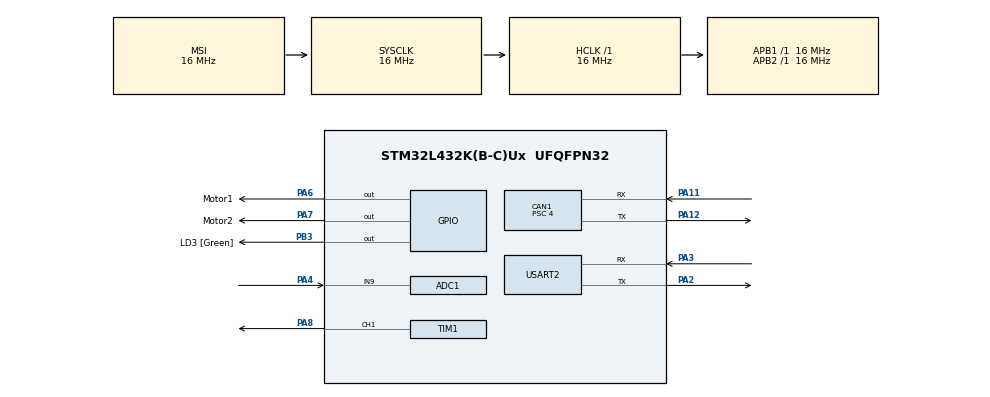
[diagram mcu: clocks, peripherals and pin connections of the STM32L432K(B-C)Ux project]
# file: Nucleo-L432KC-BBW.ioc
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ADC1.Channel-3\#ChannelRegularConversion=ADC_CHANNEL_9
ADC1.NbrOfConversionFlag=1
ADC1.OffsetNumber-3\#ChannelRegularConversion=ADC_OFFSET_NONE
ADC1.Rank-3\#ChannelRegularConversion=1
ADC1.SamplingTime-3\#ChannelRegularConversion=ADC_SAMPLETIME_2CYCLES_5
ADC1.master=1
CAN1.ABOM=ENABLE
CAN1.BS1=CAN_BS1_13TQ
CAN1.BS2=CAN_BS2_2TQ
CAN1.CalculateBaudRate=250000
CAN1.CalculateTimeBit=4000
CAN1.CalculateTimeQuantum=250.0
CAN1.Prescaler=4
Mcu.Family=STM32L4
Mcu.Name=STM32L432K(B-C)Ux
Mcu.Package=UFQFPN32
NVIC.ADC1_IRQn=true\:0\:0\:false\:false\:true\:true\:true\:true
NVIC.CAN1_RX0_IRQn=true\:0\:0\:false\:false\:true\:true\:true\:true
NVIC.CAN1_RX1_IRQn=true\:0\:0\:false\:false\:true\:true\:true\:true
NVIC.PriorityGroup=NVIC_PRIORITYGROUP_4
NVIC.TIM1_UP_TIM16_IRQn=true\:0\:0\:false\:false\:true\:true\:true\:true
NVIC.TIM6_DAC_IRQn=true\:0\:0\:false\:false\:true\:true\:true\:true
NVIC.TIM7_IRQn=true\:0\:0\:false\:false\:true\:true\:true\:true
PA0.GPIO_Label=MCO [High speed clock in]
PA0.Mode=HSE-External-Clock-Source-for-LittleOrca
PA0.Signal=RCC_CK_IN
PA11.Mode=CAN_Activate
PA11.Signal=CAN1_RX
PA12.Mode=CAN_Activate
PA12.Signal=CAN1_TX
PA13\ (JTMS-SWDIO).GPIO_Label=SWDIO
PA13\ (JTMS-SWDIO).Mode=Serial_Wire
PA13\ (JTMS-SWDIO).Signal=SYS_JTMS-SWDIO
PA14\ (JTCK-SWCLK).GPIO_Label=SWCLK
PA14\ (JTCK-SWCLK).Mode=Serial_Wire
PA14\ (JTCK-SWCLK).Signal=SYS_JTCK-SWCLK
PA2.Mode=Asynchronous
PA2.Signal=USART2_TX
PA3.Mode=Asynchronous
PA3.Signal=USART2_RX
PA4.Signal=ADCx_IN9
PA6.GPIO_Label=Motor1
PA6.Signal=GPIO_Output
PA7.GPIO_Label=Motor2
PA7.Signal=GPIO_Output
PA8.Signal=S_TIM1_CH1
PB3\ (JTDO-TRACESWO).GPIO_Label=LD3 [Green]
PB3\ (JTDO-TRACESWO).Signal=GPIO_Output
PC14-OSC32_IN\ (PC14).Mode=LSE-External-Oscillator
PC14-OSC32_IN\ (PC14).Signal=RCC_OSC32_IN
PC15-OSC32_OUT\ (PC15).Mode=LSE-External-Oscillator
PC15-OSC32_OUT\ (PC15).Signal=RCC_OSC32_OUT
ProjectManager.HeapSize=0x200
ProjectManager.StackSize=0x400
ProjectManager.TargetToolchain=STM32CubeIDE
RCC.ADCFreq_Value=64000000
RCC.AHBFreq_Value=16000000
RCC.APB1Freq_Value=16000000
RCC.APB1TimFreq_Value=16000000
RCC.APB2Freq_Value=16000000
RCC.APB2TimFreq_Value=16000000
RCC.CortexFreq_Value=16000000
RCC.HCLKFreq_Value=16000000
RCC.HSE_VALUE=8000000
RCC.HSI16_VALUE=16000000
RCC.HSI48_VALUE=48000000
RCC.HSI_VALUE=16000000
RCC.MSIClockRange=RCC_MSIRANGE_8
RCC.MSI_VALUE=16000000
RCC.PLLMUL=RCC_PLLMUL_4
RCC.SYSCLKFreq_VALUE=16000000
RCC.USBFreq_Value=64000000
RCC.VCOOutputFreq_Value=128000000
SH.ADCx_IN9.0=ADC1_IN9,IN9-Single-Ended
SH.S_TIM1_CH1.0=TIM1_CH1,PWM Generation1 CH1
TIM1.Channel-PWM\ Generation1\ CH1=TIM_CHANNEL_1
TIM1.Period=500
TIM1.Prescaler=160-1
TIM16.Period=20000
TIM16.Prescaler=160-1
TIM6.Period=10000
TIM6.Prescaler=16-1
TIM7.Period=25000
TIM7.Prescaler=64-1
USART2.VirtualMode-Asynchronous=VM_ASYNC
VP_TIM16_VS_ClockSourceINT.Mode=Enable_Timer
VP_TIM6_VS_ClockSourceINT.Mode=Enable_Timer
VP_TIM7_VS_ClockSourceINT.Mode=Enable_Timer
board=NUCLEO-L432KC

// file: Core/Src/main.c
/* USER CODE BEGIN Header */
/**
  ******************************************************************************
  * @file           : main.c
  * @brief          : Main program body
  ******************************************************************************
  * @attention
  *
  * Copyright (c) 2022 STMicroelectronics.
  * All rights reserved.
  *
  * This software is licensed under terms that can be found in the LICENSE file
  * in the root directory of this software component.
  * If no LICENSE file comes with this software, it is provided AS-IS.
  *
  ******************************************************************************
  */
/* USER CODE END Header */
#include "main.h"

/* USER CODE BEGIN Includes */

#include "stdio.h"

/* USER CODE END Includes */

ADC_HandleTypeDef hadc1;

CAN_HandleTypeDef hcan1;

TIM_HandleTypeDef htim1;
TIM_HandleTypeDef htim6;
TIM_HandleTypeDef htim7;
TIM_HandleTypeDef htim16;

UART_HandleTypeDef huart2;

void SystemClock_Config(void);
static void MX_GPIO_Init(void);
static void MX_USART2_UART_Init(void);
static void MX_CAN1_Init(void);
static void MX_TIM6_Init(void);
static void MX_TIM1_Init(void);
static void MX_ADC1_Init(void);
static void MX_TIM7_Init(void);
static void MX_TIM16_Init(void);

/* USER CODE BEGIN 0 */

CAN_TxHeaderTypeDef TxHeader;
CAN_RxHeaderTypeDef RxHeader;

uint32_t TxMailbox;

uint8_t CAN_TxData[4];
uint8_t CAN_RxData[4];

// important: don't convert to int or it will get reset to 0 for unknown reason
uint8_t first_met = 0;

uint32_t pressure_desired = 0;
uint32_t pressure_measured = 0;

uint32_t pressure_measured_avg = 0;
uint32_t pressure_measured_sum = 0;

// uart print to serial terminal for debugging purpose
int _write(int file, char *ptr, int len){
	HAL_UART_Transmit(&huart2, (uint8_t*)ptr, len, HAL_MAX_DELAY);
	return len;
}

void HAL_CAN_RxFifo0MsgPendingCallback(CAN_HandleTypeDef *hcan1)
{
  if (HAL_CAN_GetRxMessage(hcan1, CAN_RX_FIFO0, &RxHeader, CAN_RxData) != HAL_OK)
  {
    Error_Handler();
  }

  // 0x100 is the can device id of the main controller
  if ((RxHeader.StdId == 0x100))
  {
    // for CAN communication debugging
    printf("Receive from MAIN CONTROLLER\r\n");
	  // first compute the brake percentage then the pressure needed
	  pressure_desired = CAN_RxData[1];
  }
}

void HAL_TIM_PeriodElapsedCallback(TIM_HandleTypeDef *htim) {
	// 100Hz = 10ms breaking linear actuator control loop
	if (htim == &htim6){
	  uint32_t brake_duty_cycle;
	  uint16_t max_duty_cycle = 400;

	  int32_t pressure_error = (int32_t)((int32_t)pressure_measured_avg - (int32_t)pressure_desired);

	  // brake error very small
	  uint8_t error_met = ((pressure_error > -15) && (pressure_error < 15));

	  // we want to first narrow down to a small range of error
	  // and then increase this bound to avoid oscillation
	  if ((pressure_error > -10) || (pressure_error < 10)){
		  first_met = 1;
	  }

	  // if any conditions are met, lock the motor and cutoff power
	  if ((error_met) && (first_met == 1)){
		  HAL_GPIO_WritePin(GPIOA, Motor1_Pin, GPIO_PIN_RESET);
		  HAL_GPIO_WritePin(GPIOA, Motor2_Pin, GPIO_PIN_RESET);
		  brake_duty_cycle = 0;
	  }
	  else{
		  first_met = 0;

		  // set the movement direction of the motor
		  if(pressure_error > 0.0){
			  HAL_GPIO_WritePin(GPIOA, Motor1_Pin, GPIO_PIN_RESET);
			  HAL_GPIO_WritePin(GPIOA, Motor2_Pin, GPIO_PIN_SET);
		  } else{
			  HAL_GPIO_WritePin(GPIOA, Motor1_Pin, GPIO_PIN_SET);
			  HAL_GPIO_WritePin(GPIOA, Motor2_Pin, GPIO_PIN_RESET);
		  }

		  // note that the backward force (loosing the brake) is much
		  // smaller than the forward force required (pushing the brake)
		  if(pressure_error > 0.0){
			  brake_duty_cycle = (uint32_t)(pressure_error * 10);
		  } else{
			  brake_duty_cycle = (uint32_t)((-1)*pressure_error * 20);
		  }

		  if(brake_duty_cycle > max_duty_cycle){
			  brake_duty_cycle = max_duty_cycle;
		  }
	  }

	  if(HAL_TIM_PWM_Stop(&htim1, TIM_CHANNEL_1) == HAL_OK)
	  {
		  // send out speed control pwm
		  TIM1->CCR1 = brake_duty_cycle;
		  //HAL_TIM_PWM_Start(&htim1, TIM_CHANNEL_1);
	  }
  }

  // 100ms = 10Hz
  if (htim == &htim7){

  }

  // 5Hz = 200ms send out measured breaking pressure to can bus
  if (htim == &htim16){
	  CAN_TxData[0] = (uint8_t)(pressure_measured_avg);
	  CAN_TxData[1] = (uint8_t)(first_met);
	  HAL_CAN_AddTxMessage(&hcan1, &TxHeader, CAN_TxData, &TxMailbox);

//	  printf("brake pressure measured: %.2f PSI \r\n", pressure_measured_avg);
//	  printf("brake pressure desired: %.2f PSI \r\n", pressure_desired);
  }
}

/* USER CODE END 0 */

int main(void)
{

  /* MCU Configuration--------------------------------------------------------*/

  /* Reset of all peripherals, Initializes the Flash interface and the Systick. */
  HAL_Init();

  /* Configure the system clock */
  SystemClock_Config();

  /* Initialize all configured peripherals */
  MX_GPIO_Init();
  MX_USART2_UART_Init();
  MX_CAN1_Init();
  MX_TIM6_Init();
  MX_TIM1_Init();
  MX_ADC1_Init();
  MX_TIM7_Init();
  MX_TIM16_Init();
  /* USER CODE BEGIN 2 */

  // IMPORTANT: DO NOT MOVE THIS COUNTER TO GLOBAL VARIABLE
  // OR IT WILL BE RESET EVERY FEW LOOPS FOR NO REASON
  uint8_t count_max = 50;
  uint8_t pressure_count = 0;

  float pressure_voltage;
  float pressure_voltage_max = 4.5;
  float pressure_voltage_min = 0.7;

  float pressure_abs_max = 255.0;

  /* USER CODE END 2 */

  /* Infinite loop */
  /* USER CODE BEGIN WHILE */
  while (1)
  {
	  HAL_ADC_Start(&hadc1);
	  HAL_ADC_PollForConversion(&hadc1, HAL_MAX_DELAY);

	  // reference adc reading [0-4095], reference voltage [0-3.3v]
	  // however, empirical test show that 3.7v gives more accurate reading
	  pressure_voltage = ((float)(HAL_ADC_GetValue(&hadc1)) / 4095.0) * 3.7;
	  pressure_measured = (uint16_t)((pressure_voltage - pressure_voltage_min) / (pressure_voltage_max - pressure_voltage_min) * pressure_abs_max);

	  // Throw out out of bound readings to reduce errors
	  if (pressure_measured > 0 && pressure_measured < pressure_abs_max){
		  pressure_measured_sum += pressure_measured;
		  pressure_count += 1;
	  }

	  if (pressure_count == count_max){
		  pressure_measured_avg = pressure_measured_sum / count_max;

		  if (pressure_measured_avg < 0){
			  pressure_measured_avg = 0;
		  }

		  pressure_count = 0;
		  pressure_measured_sum = 0;
	  }
  }
  /* USER CODE END WHILE */

}

void SystemClock_Config(void)
{
  RCC_OscInitTypeDef RCC_OscInitStruct = {0};
  RCC_ClkInitTypeDef RCC_ClkInitStruct = {0};

  /** Configure the main internal regulator output voltage
  */
  if (HAL_PWREx_ControlVoltageScaling(PWR_REGULATOR_VOLTAGE_SCALE1) != HAL_OK)
  {
    Error_Handler();
  }

  /** Configure LSE Drive Capability
  */
  HAL_PWR_EnableBkUpAccess();
  __HAL_RCC_LSEDRIVE_CONFIG(RCC_LSEDRIVE_LOW);

  /** Initializes the RCC Oscillators according to the specified parameters
  * in the RCC_OscInitTypeDef structure.
  */
  RCC_OscInitStruct.OscillatorType = RCC_OSCILLATORTYPE_LSE|RCC_OSCILLATORTYPE_MSI;
  RCC_OscInitStruct.LSEState = RCC_LSE_ON;
  RCC_OscInitStruct.MSIState = RCC_MSI_ON;
  RCC_OscInitStruct.MSICalibrationValue = 0;
  RCC_OscInitStruct.MSIClockRange = RCC_MSIRANGE_8;
  RCC_OscInitStruct.PLL.PLLState = RCC_PLL_NONE;
  if (HAL_RCC_OscConfig(&RCC_OscInitStruct) != HAL_OK)
  {
    Error_Handler();
  }

  /** Initializes the CPU, AHB and APB buses clocks
  */
  RCC_ClkInitStruct.ClockType = RCC_CLOCKTYPE_HCLK|RCC_CLOCKTYPE_SYSCLK
                              |RCC_CLOCKTYPE_PCLK1|RCC_CLOCKTYPE_PCLK2;
  RCC_ClkInitStruct.SYSCLKSource = RCC_SYSCLKSOURCE_MSI;
  RCC_ClkInitStruct.AHBCLKDivider = RCC_SYSCLK_DIV1;
  RCC_ClkInitStruct.APB1CLKDivider = RCC_HCLK_DIV1;
  RCC_ClkInitStruct.APB2CLKDivider = RCC_HCLK_DIV1;

  if (HAL_RCC_ClockConfig(&RCC_ClkInitStruct, FLASH_LATENCY_0) != HAL_OK)
  {
    Error_Handler();
  }

  /** Enable MSI Auto calibration
  */
  HAL_RCCEx_EnableMSIPLLMode();
}

static void MX_ADC1_Init(void)
{

  ADC_ChannelConfTypeDef sConfig = {0};

  /** Common config
  */
  hadc1.Instance = ADC1;
  hadc1.Init.ClockPrescaler = ADC_CLOCK_ASYNC_DIV1;
  hadc1.Init.Resolution = ADC_RESOLUTION_12B;
  hadc1.Init.DataAlign = ADC_DATAALIGN_RIGHT;
  hadc1.Init.ScanConvMode = ADC_SCAN_DISABLE;
  hadc1.Init.EOCSelection = ADC_EOC_SINGLE_CONV;
  hadc1.Init.LowPowerAutoWait = DISABLE;
  hadc1.Init.ContinuousConvMode = DISABLE;
  hadc1.Init.NbrOfConversion = 1;
  hadc1.Init.DiscontinuousConvMode = DISABLE;
  hadc1.Init.ExternalTrigConv = ADC_SOFTWARE_START;
  hadc1.Init.ExternalTrigConvEdge = ADC_EXTERNALTRIGCONVEDGE_NONE;
  hadc1.Init.DMAContinuousRequests = DISABLE;
  hadc1.Init.Overrun = ADC_OVR_DATA_PRESERVED;
  hadc1.Init.OversamplingMode = DISABLE;
  if (HAL_ADC_Init(&hadc1) != HAL_OK)
  {
    Error_Handler();
  }

  /** Configure Regular Channel
  */
  sConfig.Channel = ADC_CHANNEL_9;
  sConfig.Rank = ADC_REGULAR_RANK_1;
  sConfig.SamplingTime = ADC_SAMPLETIME_2CYCLES_5;
  sConfig.SingleDiff = ADC_SINGLE_ENDED;
  sConfig.OffsetNumber = ADC_OFFSET_NONE;
  sConfig.Offset = 0;
  if (HAL_ADC_ConfigChannel(&hadc1, &sConfig) != HAL_OK)
  {
    Error_Handler();
  }
  /* USER CODE BEGIN ADC1_Init 2 */
//  HAL_ADC_Start(&hadc1);
  /* USER CODE END ADC1_Init 2 */

}

static void MX_CAN1_Init(void)
{

  /* USER CODE BEGIN CAN1_Init 0 */
  TxHeader.DLC = 4;
  TxHeader.ExtId = 0;
  TxHeader.IDE = CAN_ID_STD;
  TxHeader.RTR = CAN_RTR_DATA;
  TxHeader.StdId = 0x102;
  TxHeader.TransmitGlobalTime = DISABLE;

  /* USER CODE END CAN1_Init 0 */

  hcan1.Instance = CAN1;
  hcan1.Init.Prescaler = 2;
  hcan1.Init.Mode = CAN_MODE_NORMAL;
  hcan1.Init.SyncJumpWidth = CAN_SJW_1TQ;
  hcan1.Init.TimeSeg1 = CAN_BS1_13TQ;
  hcan1.Init.TimeSeg2 = CAN_BS2_2TQ;
  hcan1.Init.TimeTriggeredMode = DISABLE;
  hcan1.Init.AutoBusOff = ENABLE;
  hcan1.Init.AutoWakeUp = DISABLE;
  hcan1.Init.AutoRetransmission = DISABLE;
  hcan1.Init.ReceiveFifoLocked = DISABLE;
  hcan1.Init.TransmitFifoPriority = DISABLE;
  if (HAL_CAN_Init(&hcan1) != HAL_OK)
  {
    Error_Handler();
  }
  /* USER CODE BEGIN CAN1_Init 2 */

  CAN_FilterTypeDef canfilterconfig;

  canfilterconfig.FilterActivation = CAN_FILTER_ENABLE;
  canfilterconfig.FilterBank = 10;  // which filter bank to use from the assigned ones
  canfilterconfig.FilterFIFOAssignment = CAN_FILTER_FIFO0;
  canfilterconfig.FilterIdHigh = 0x100 << 5;  // Standard 11-bit ID left-aligned in a 16-bit field
  canfilterconfig.FilterIdLow = 0x0000;
  canfilterconfig.FilterMaskIdHigh = 0xFFE0;  // Mask to match the ID exactly (11-bit ID left-aligned, 5 bits for mask)
  canfilterconfig.FilterMaskIdLow = 0x0000;
  canfilterconfig.FilterMode = CAN_FILTERMODE_IDMASK;
  canfilterconfig.FilterScale = CAN_FILTERSCALE_32BIT;
  canfilterconfig.SlaveStartFilterBank = 20;  // how many filters to assign to the CAN1 (master can)

  HAL_CAN_ConfigFilter(&hcan1, &canfilterconfig);
  HAL_CAN_Start(&hcan1);
  HAL_CAN_ActivateNotification(&hcan1, CAN_IT_RX_FIFO0_MSG_PENDING);

  /* USER CODE END CAN1_Init 2 */

}

static void MX_TIM1_Init(void)
{

  TIM_MasterConfigTypeDef sMasterConfig = {0};
  TIM_OC_InitTypeDef sConfigOC = {0};
  TIM_BreakDeadTimeConfigTypeDef sBreakDeadTimeConfig = {0};

  htim1.Instance = TIM1;
  htim1.Init.Prescaler = 160-1;
  htim1.Init.CounterMode = TIM_COUNTERMODE_UP;
  htim1.Init.Period = 500;
  htim1.Init.ClockDivision = TIM_CLOCKDIVISION_DIV1;
  htim1.Init.RepetitionCounter = 0;
  htim1.Init.AutoReloadPreload = TIM_AUTORELOAD_PRELOAD_DISABLE;
  if (HAL_TIM_PWM_Init(&htim1) != HAL_OK)
  {
    Error_Handler();
  }
  sMasterConfig.MasterOutputTrigger = TIM_TRGO_RESET;
  sMasterConfig.MasterOutputTrigger2 = TIM_TRGO2_RESET;
  sMasterConfig.MasterSlaveMode = TIM_MASTERSLAVEMODE_DISABLE;
  if (HAL_TIMEx_MasterConfigSynchronization(&htim1, &sMasterConfig) != HAL_OK)
  {
    Error_Handler();
  }
  sConfigOC.OCMode = TIM_OCMODE_PWM1;
  sConfigOC.Pulse = 0;
  sConfigOC.OCPolarity = TIM_OCPOLARITY_HIGH;
  sConfigOC.OCNPolarity = TIM_OCNPOLARITY_HIGH;
  sConfigOC.OCFastMode = TIM_OCFAST_DISABLE;
  sConfigOC.OCIdleState = TIM_OCIDLESTATE_RESET;
  sConfigOC.OCNIdleState = TIM_OCNIDLESTATE_RESET;
  if (HAL_TIM_PWM_ConfigChannel(&htim1, &sConfigOC, TIM_CHANNEL_1) != HAL_OK)
  {
    Error_Handler();
  }
  sBreakDeadTimeConfig.OffStateRunMode = TIM_OSSR_DISABLE;
  sBreakDeadTimeConfig.OffStateIDLEMode = TIM_OSSI_DISABLE;
  sBreakDeadTimeConfig.LockLevel = TIM_LOCKLEVEL_OFF;
  sBreakDeadTimeConfig.DeadTime = 0;
  sBreakDeadTimeConfig.BreakState = TIM_BREAK_DISABLE;
  sBreakDeadTimeConfig.BreakPolarity = TIM_BREAKPOLARITY_HIGH;
  sBreakDeadTimeConfig.BreakFilter = 0;
  sBreakDeadTimeConfig.Break2State = TIM_BREAK2_DISABLE;
  sBreakDeadTimeConfig.Break2Polarity = TIM_BREAK2POLARITY_HIGH;
  sBreakDeadTimeConfig.Break2Filter = 0;
  sBreakDeadTimeConfig.AutomaticOutput = TIM_AUTOMATICOUTPUT_DISABLE;
  if (HAL_TIMEx_ConfigBreakDeadTime(&htim1, &sBreakDeadTimeConfig) != HAL_OK)
  {
    Error_Handler();
  }
  /* USER CODE BEGIN TIM1_Init 2 */
  HAL_TIM_PWM_Start(&htim1, TIM_CHANNEL_1);

  /* USER CODE END TIM1_Init 2 */
  HAL_TIM_MspPostInit(&htim1);

}

static void MX_TIM6_Init(void)
{

  TIM_MasterConfigTypeDef sMasterConfig = {0};

  htim6.Instance = TIM6;
  htim6.Init.Prescaler = 16-1;
  htim6.Init.CounterMode = TIM_COUNTERMODE_UP;
  htim6.Init.Period = 10000;
  htim6.Init.AutoReloadPreload = TIM_AUTORELOAD_PRELOAD_DISABLE;
  if (HAL_TIM_Base_Init(&htim6) != HAL_OK)
  {
    Error_Handler();
  }
  sMasterConfig.MasterOutputTrigger = TIM_TRGO_RESET;
  sMasterConfig.MasterSlaveMode = TIM_MASTERSLAVEMODE_DISABLE;
  if (HAL_TIMEx_MasterConfigSynchronization(&htim6, &sMasterConfig) != HAL_OK)
  {
    Error_Handler();
  }
  /* USER CODE BEGIN TIM6_Init 2 */
  HAL_TIM_Base_Start_IT(&htim6);
  /* USER CODE END TIM6_Init 2 */

}

static void MX_TIM7_Init(void)
{

  TIM_MasterConfigTypeDef sMasterConfig = {0};

  htim7.Instance = TIM7;
  htim7.Init.Prescaler = 64-1;
  htim7.Init.CounterMode = TIM_COUNTERMODE_UP;
  htim7.Init.Period = 25000;
  htim7.Init.AutoReloadPreload = TIM_AUTORELOAD_PRELOAD_DISABLE;
  if (HAL_TIM_Base_Init(&htim7) != HAL_OK)
  {
    Error_Handler();
  }
  sMasterConfig.MasterOutputTrigger = TIM_TRGO_RESET;
  sMasterConfig.MasterSlaveMode = TIM_MASTERSLAVEMODE_DISABLE;
  if (HAL_TIMEx_MasterConfigSynchronization(&htim7, &sMasterConfig) != HAL_OK)
  {
    Error_Handler();
  }
  /* USER CODE BEGIN TIM7_Init 2 */
  HAL_TIM_Base_Start_IT(&htim7);
  /* USER CODE END TIM7_Init 2 */

}

static void MX_TIM16_Init(void)
{

  htim16.Instance = TIM16;
  htim16.Init.Prescaler = 160-1;
  htim16.Init.CounterMode = TIM_COUNTERMODE_UP;
  htim16.Init.Period = 20000;
  htim16.Init.ClockDivision = TIM_CLOCKDIVISION_DIV1;
  htim16.Init.RepetitionCounter = 0;
  htim16.Init.AutoReloadPreload = TIM_AUTORELOAD_PRELOAD_DISABLE;
  if (HAL_TIM_Base_Init(&htim16) != HAL_OK)
  {
    Error_Handler();
  }
  /* USER CODE BEGIN TIM16_Init 2 */
  HAL_TIM_Base_Start_IT(&htim16);
  /* USER CODE END TIM16_Init 2 */

}

static void MX_USART2_UART_Init(void)
{

  huart2.Instance = USART2;
  huart2.Init.BaudRate = 115200;
  huart2.Init.WordLength = UART_WORDLENGTH_8B;
  huart2.Init.StopBits = UART_STOPBITS_1;
  huart2.Init.Parity = UART_PARITY_NONE;
  huart2.Init.Mode = UART_MODE_TX_RX;
  huart2.Init.HwFlowCtl = UART_HWCONTROL_NONE;
  huart2.Init.OverSampling = UART_OVERSAMPLING_16;
  huart2.Init.OneBitSampling = UART_ONE_BIT_SAMPLE_DISABLE;
  huart2.AdvancedInit.AdvFeatureInit = UART_ADVFEATURE_NO_INIT;
  if (HAL_UART_Init(&huart2) != HAL_OK)
  {
    Error_Handler();
  }

}

static void MX_GPIO_Init(void)
{
  GPIO_InitTypeDef GPIO_InitStruct = {0};

  /* GPIO Ports Clock Enable */
  __HAL_RCC_GPIOC_CLK_ENABLE();
  __HAL_RCC_GPIOA_CLK_ENABLE();
  __HAL_RCC_GPIOB_CLK_ENABLE();

  /*Configure GPIO pin Output Level */
  HAL_GPIO_WritePin(GPIOA, Motor1_Pin|Motor2_Pin, GPIO_PIN_RESET);

  /*Configure GPIO pin Output Level */
  HAL_GPIO_WritePin(LD3_GPIO_Port, LD3_Pin, GPIO_PIN_RESET);

  /*Configure GPIO pins : Motor1_Pin Motor2_Pin */
  GPIO_InitStruct.Pin = Motor1_Pin|Motor2_Pin;
  GPIO_InitStruct.Mode = GPIO_MODE_OUTPUT_PP;
  GPIO_InitStruct.Pull = GPIO_NOPULL;
  GPIO_InitStruct.Speed = GPIO_SPEED_FREQ_LOW;
  HAL_GPIO_Init(GPIOA, &GPIO_InitStruct);

  /*Configure GPIO pin : LD3_Pin */
  GPIO_InitStruct.Pin = LD3_Pin;
  GPIO_InitStruct.Mode = GPIO_MODE_OUTPUT_PP;
  GPIO_InitStruct.Pull = GPIO_NOPULL;
  GPIO_InitStruct.Speed = GPIO_SPEED_FREQ_LOW;
  HAL_GPIO_Init(LD3_GPIO_Port, &GPIO_InitStruct);

}

void Error_Handler(void)
{
  __disable_irq();
  while (1)
  {
  }
}
